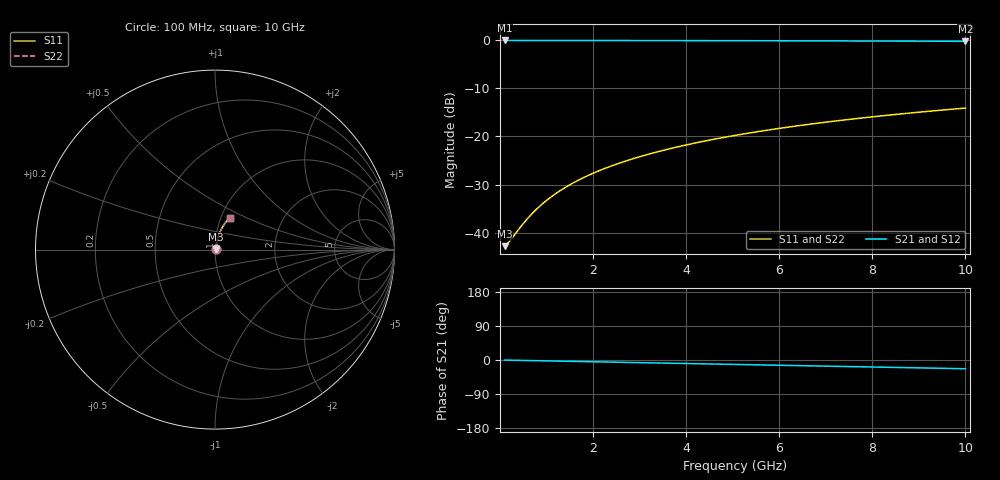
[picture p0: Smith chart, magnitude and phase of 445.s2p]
# Hz S RI R 50.00
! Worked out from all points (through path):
!   100 points, 100 MHz to 10 GHz, reference 50 ohm
!   highest |S21| = -0.06 dB at 100 MHz (marker M1); lowest = -0.2 dB at 10 GHz (marker M2)
!   group delay of S21, straight-line fit = 6.4 ps
!   lowest |S11| = -42.8 dB at 100 MHz (marker M3), VSWR 1.01, Z = 50.7 + j0.205 ohm
!   |S11| at or under -10 dB: start of sweep to end of sweep
!   |S22| runs from -42.8 to -14.1 dB; largest |S21 - S12| = 0
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1e8  0.00698 0.00202  0.993 -0.00403  0.993 -0.00403  0.00698 0.00202
2e8  0.00705 0.00404  0.9929 -0.00806  0.9929 -0.00806  0.00705 0.00404
5e8  0.00731 0.0101  0.9926 -0.0202  0.9926 -0.0202  0.00731 0.0101
6e8  0.00742 0.0121  0.9925 -0.0242  0.9925 -0.0242  0.00742 0.0121
7e8  0.00754 0.0141  0.9923 -0.0282  0.9923 -0.0282  0.00754 0.0141
9e8  0.00783 0.0181  0.992 -0.0363  0.992 -0.0363  0.00783 0.0181
1.1e9  0.00819 0.0222  0.9915 -0.0443  0.9915 -0.0443  0.00819 0.0222
1.3e9  0.00861 0.0262  0.991 -0.0523  0.991 -0.0523  0.00861 0.0262
1.5e9  0.00909 0.0302  0.9904 -0.0604  0.9904 -0.0604  0.00909 0.0302
1.8e9  0.00992 0.0362  0.9894 -0.0724  0.9894 -0.0724  0.00992 0.0362
2.1e9  0.0109 0.0421  0.9882 -0.0844  0.9882 -0.0844  0.0109 0.0421
2.5e9  0.0124 0.05  0.9862 -0.1004  0.9862 -0.1004  0.0124 0.05
2.9e9  0.0142 0.0579  0.984 -0.1163  0.984 -0.1163  0.0142 0.0579
3.4e9  0.0168 0.0676  0.9808 -0.1361  0.9808 -0.1361  0.0168 0.0676
3.8e9  0.0191 0.0753  0.9778 -0.1518  0.9778 -0.1518  0.0191 0.0753
4.2e9  0.0217 0.0829  0.9746 -0.1675  0.9746 -0.1675  0.0217 0.0829
5.1e9  0.0284 0.0996  0.9662 -0.2024  0.9662 -0.2024  0.0284 0.0996
5.9e9  0.0354 0.114  0.9574 -0.233  0.9574 -0.233  0.0354 0.114
6.7e9  0.0432 0.1279  0.9475 -0.263  0.9475 -0.263  0.0432 0.1279
7.5e9  0.0518 0.1412  0.9365 -0.2925  0.9365 -0.2925  0.0518 0.1412
8.4e9  0.0626 0.1554  0.9228 -0.325  0.9228 -0.325  0.0626 0.1554
1e10  0.0839 0.1785  0.8953 -0.3806  0.8953 -0.3806  0.0839 0.1785
